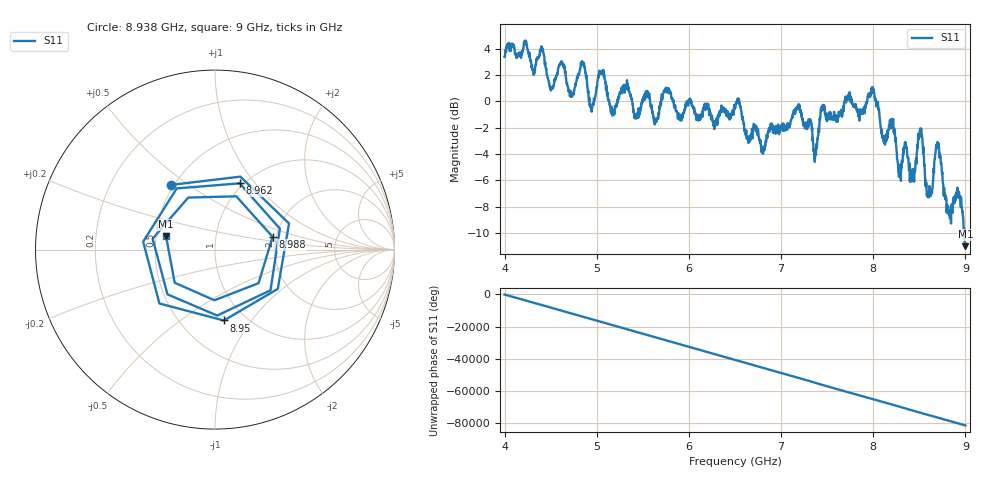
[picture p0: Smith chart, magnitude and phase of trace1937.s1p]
! Created with skrf 1.8.0 (http://scikit-rf.org).
# Hz S RI R 50.0
!freq ReS11 ImS11
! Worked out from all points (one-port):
!   1601 points, 4 GHz to 9 GHz, reference 50 ohm
!   lowest |S11| = -11.0 dB at 9 GHz (marker M1), VSWR 1.79, Z = 28.3 + j4.53 ohm
!   |S11| at or under -10 dB: 8.98965 GHz to end of sweep
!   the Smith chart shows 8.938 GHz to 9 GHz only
!   S11 on the Smith chart (normalised r, x): 8.938 GHz: 0.48, +0.43; 8.95 GHz: 0.79, -0.75; 8.962 GHz: 0.96, +0.84; 8.988 GHz: 1.91, +0.31; 9 GHz: 0.57, +0.09
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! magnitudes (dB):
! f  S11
! 4 GHz  3.4
! 4.625 GHz  2.9
! 4.725 GHz  0.5
! 4.853 GHz  2.8
! 4.941 GHz  -0.7
! 5.047 GHz  2.2
! 5.169 GHz  -0.9
! 5.25 GHz  0.7
! 5.875 GHz  -0.9
! 6.5 GHz  -0.5
! 6.803 GHz  -4.0
! 7.125 GHz  -1.0
! 7.372 GHz  -3.9
! 7.447 GHz  -0.7
! 7.75 GHz  0.3
! 7.997 GHz  0.7
! 8.281 GHz  -5.7
! 8.375 GHz  -4.3
! 8.431 GHz  -5.5
! 8.512 GHz  -2.2
! 8.603 GHz  -7.3
! 8.697 GHz  -3.1
! 8.819 GHz  -8.5
! 8.938 GHz  -7.2
! 8.95 GHz  -8.0
! 8.962 GHz  -8.1
! 8.988 GHz  -9.7
! 9 GHz  -11.0
